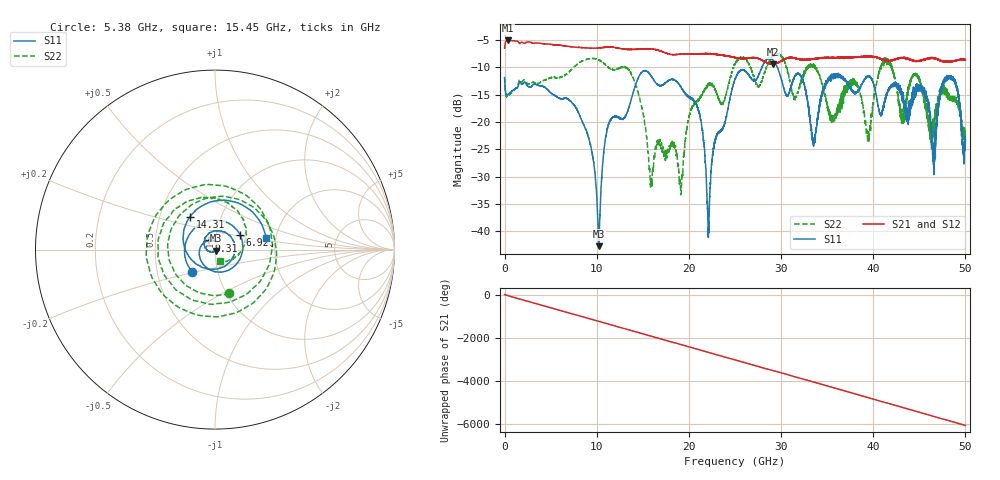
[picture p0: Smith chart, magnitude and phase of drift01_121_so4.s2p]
!Created with skrf (http://scikit-rf.org).
# Hz S RI R 50.0
!freq ReS11 ImS11 ReS21 ImS21 ReS12 ImS12 ReS22 ImS22
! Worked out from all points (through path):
!   10001 points, 300 kHz to 50 GHz, reference 50 ohm
!   highest |S21| = -5.05 dB at 345.3 MHz (marker M1); lowest = -9.4 dB at 29.08 GHz (marker M2)
!   group delay of S21, straight-line fit = 336 ps
!   lowest |S11| = -42.7 dB at 10.23 GHz (marker M3), VSWR 1.01, Z = 50.5 - j0.57 ohm
!   |S11| at or under -10 dB: start of sweep to 27.91 GHz; 29.6 GHz to end of sweep
!   |S22| runs from -33.3 to -7.5 dB; largest |S21 - S12| = 0.015
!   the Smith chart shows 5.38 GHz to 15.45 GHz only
!   S11 on the Smith chart (normalised r, x): 5.38 GHz: 0.76, -0.19; 6.92 GHz: 1.30, +0.22; 9.31 GHz: 0.93, +0.10; 14.31 GHz: 0.71, +0.28; 15.45 GHz: 1.78, +0.25
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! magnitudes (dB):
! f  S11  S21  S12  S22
! 300 kHz  -11.9  -6.5  -6.5  -11.7
! 345.3 MHz  -14.9  -5.1  -5.1  -15.3
! 5.38 GHz  -15.1  -5.8  -5.9  -11.8
! 6.92 GHz  -15.9  -6.1  -6.1  -11.0
! 8.335 GHz  -19.5  -6.4  -6.4  -8.9
! 9.31 GHz  -24.1  -6.4  -6.4  -8.4
! 10.23 GHz  -42.7  -6.4  -6.4  -8.6
! 11.23 GHz  -20.7  -6.2  -6.2  -9.9
! 14.31 GHz  -12.7  -6.7  -6.7  -13.6
! 15.45 GHz  -10.7  -6.6  -6.6  -23.0
! 16.67 GHz  -13.2  -6.9  -6.8  -23.4
! 19.14 GHz  -13.6  -7.5  -7.6  -33.2
! 20.86 GHz  -16.9  -7.5  -7.5  -16.2
! 22.12 GHz  -40.4  -7.5  -7.5  -13.3
! 25 GHz  -12.1  -8.2  -8.2  -9.4
! 29.08 GHz  -8.6  -9.4  -9.4  -8.0
! 33.34 GHz  -22.4  -8.5  -8.4  -9.6
! 39.47 GHz  -11.6  -8.0  -8.0  -22.0
! 41.67 GHz  -13.9  -8.8  -8.7  -9.0
! 46.56 GHz  -26.4  -8.3  -8.3  -20.5
! 48.56 GHz  -12.1  -8.8  -8.8  -15.7
! 50 GHz  -23.7  -8.7  -8.6  -22.8
